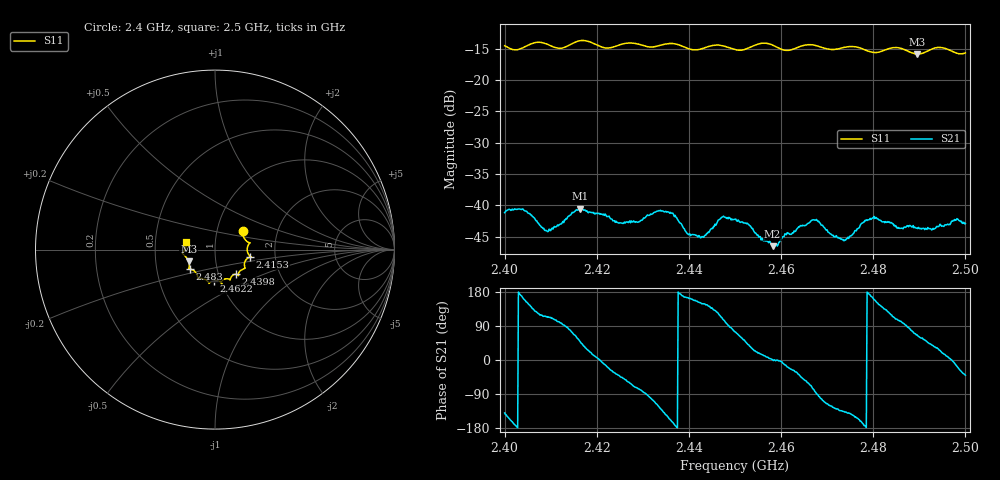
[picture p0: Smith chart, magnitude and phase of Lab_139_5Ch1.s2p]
# Hz S RI R 50
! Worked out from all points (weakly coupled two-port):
!   601 points, 2.4 GHz to 2.5 GHz, reference 50 ohm
!   highest |S21| = -40.55 dB at 2.4163 GHz (marker M1); lowest = -46.5 dB at 2.4582 GHz (marker M2)
!   lowest |S11| = -15.9 dB at 2.4895 GHz (marker M3), VSWR 1.38, Z = 36.9 - j5 ohm
!   |S11| at or under -10 dB: start of sweep to end of sweep
!   S12 and S22 are empty: the file has one direction only
!   S11 on the Smith chart (normalised r, x): 2.4 GHz: 1.33, +0.29; 2.4153 GHz: 1.48, -0.12; 2.4398 GHz: 1.21, -0.34; 2.4622 GHz: 0.93, -0.33; 2.483 GHz: 0.74, -0.17; 2.5 GHz: 0.72, +0.06
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2.4e9  0.1548 0.1063  -0.00666 -0.00562  0 0  0 0
2.404333e9  0.178 0.0452  -0.00843 0.00325  0 0  0 0
2.4095e9  0.1888 0.0309  -0.0025 0.00564  0 0  0 0
2.415333e9  0.1966 -0.0388  0.00384 0.00813  0 0  0 0
2.416333e9  0.2014 -0.0422  0.0061 0.00713  0 0  0 0
2.416667e9  0.2021 -0.0429  0.00662 0.00635  0 0  0 0
2.425333e9  0.1658 -0.098  0.00505 -0.00517  0 0  0 0
2.433333e9  0.1306 -0.1344  -0.00464 -0.00769  0 0  0 0
2.4365e9  0.1317 -0.1446  -0.00834 -0.0023  0 0  0 0
2.439833e9  0.1149 -0.1361  -0.00565 0.00158  0 0  0 0
2.443e9  0.0891 -0.1547  -0.00478 0.00291  0 0  0 0
2.447167e9  0.0841 -0.1684  -0.00294 0.00747  0 0  0 0
2.45e9  0.0649 -0.1625  0.00206 0.00744  0 0  0 0
2.458167e9  0.0364 -0.1862  0.00471 5.15e-05  0 0  0 0
2.462167e9  -0.00716 -0.1741  0.00532 -0.00241  0 0  0 0
2.466667e9  -0.0341 -0.1879  0.00242 -0.00718  0 0  0 0
2.4735e9  -0.0842 -0.1606  -0.00379 -0.00372  0 0  0 0
2.478667e9  -0.1018 -0.1376  -0.00755 0.000119  0 0  0 0
2.483e9  -0.1377 -0.1096  -0.00464 0.00565  0 0  0 0
2.483333e9  -0.1402 -0.1094  -0.00432 0.0059  0 0  0 0
2.4895e9  -0.1465 -0.066  0.0026 0.00602  0 0  0 0
2.5e9  -0.1598 0.0396  0.00546 -0.00461  0 0  0 0
